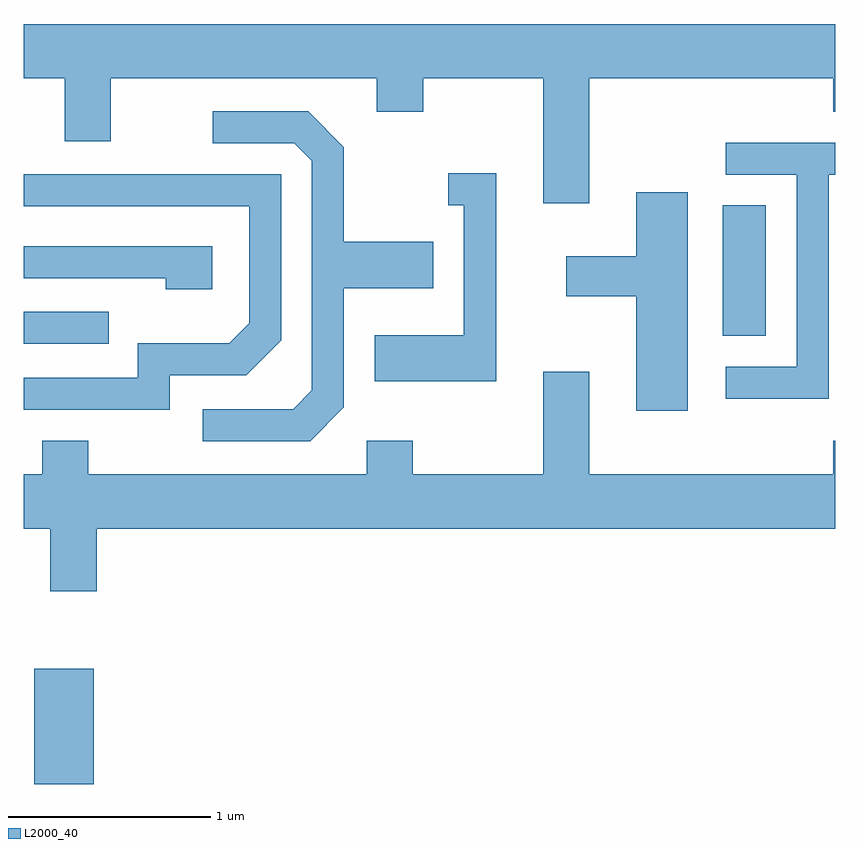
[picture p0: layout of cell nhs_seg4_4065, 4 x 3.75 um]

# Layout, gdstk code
import gdstk
lib = gdstk.Library(unit=1e-6, precision=1e-09)
def R(c, l, rs):  # rectangles x0, y0, x1, y1
    for r in rs: c.add(gdstk.rectangle(r[:2], r[2:], *l))
def P(c, l, *ps):  # polygons
    for p in ps: c.add(gdstk.Polygon(p, *l))
L2000_40 = (2000, 40)

nhs_seg4_4065 = lib.new_cell('nhs_seg4_4065')
R(nhs_seg4_4065, L2000_40, [(303.661,1360.076,303.954,1360.644), (303.611,1362.246,304.028,1362.404), (307.056,1362.286,307.269,1362.929)])
P(nhs_seg4_4065, L2000_40, [(306.399,1363.556),(307.601,1363.556),(307.601,1363.391),(307.611,1363.391),(307.611,1363.824),(303.611,1363.824),(303.611,1363.556),(303.811,1363.556),(303.811,1363.246),(304.039,1363.246),(304.039,1363.556),(305.351,1363.556),(305.351,1363.391),(305.579,1363.391),(305.579,1363.556),(306.171,1363.556),(306.171,1362.941),(306.399,1362.941)],
  [(305.189,1361.934),(305.189,1362.521),(305.629,1362.521),(305.629,1362.749),(305.189,1362.749),(305.189,1363.217),(305.012,1363.394),(304.543,1363.394),(304.543,1363.236),(304.944,1363.236),(305.031,1363.149),(305.031,1362.017),(304.939,1361.924),(304.493,1361.924),(304.493,1361.766),(305.022,1361.766)],
  [(307.579,1363.081),(307.611,1363.081),(307.611,1363.239),(307.073,1363.239),(307.073,1363.081),(307.421,1363.081),(307.421,1362.134),(307.073,1362.134),(307.073,1361.976),(307.579,1361.976)],
  [(305.939,1363.089),(305.703,1363.089),(305.703,1362.931),(305.781,1362.931),(305.781,1362.289),(305.341,1362.289),(305.341,1362.061),(305.939,1362.061)],
  [(304.329,1362.091),(304.707,1362.091),(304.879,1362.264),(304.879,1363.084),(303.611,1363.084),(303.611,1362.926),(304.721,1362.926),(304.721,1362.347),(304.624,1362.249),(304.171,1362.249),(304.171,1362.079),(303.611,1362.079),(303.611,1361.921),(304.329,1361.921)],
  [(306.884,1362.994),(306.631,1362.994),(306.631,1362.679),(306.286,1362.679),(306.286,1362.481),(306.631,1362.481),(306.631,1361.916),(306.884,1361.916)],
  [(304.539,1362.729),(303.611,1362.729),(303.611,1362.571),(304.311,1362.571),(304.311,1362.516),(304.539,1362.516)],
  [(303.969,1361.336),(307.611,1361.336),(307.611,1361.769),(307.601,1361.769),(307.601,1361.604),(306.399,1361.604),(306.399,1362.109),(306.171,1362.109),(306.171,1361.604),(305.529,1361.604),(305.529,1361.769),(305.301,1361.769),(305.301,1361.604),(303.929,1361.604),(303.929,1361.769),(303.701,1361.769),(303.701,1361.604),(303.611,1361.604),(303.611,1361.336),(303.741,1361.336),(303.741,1361.026),(303.969,1361.026)])

lib.write_gds('nhs_seg4_4065.gds')
